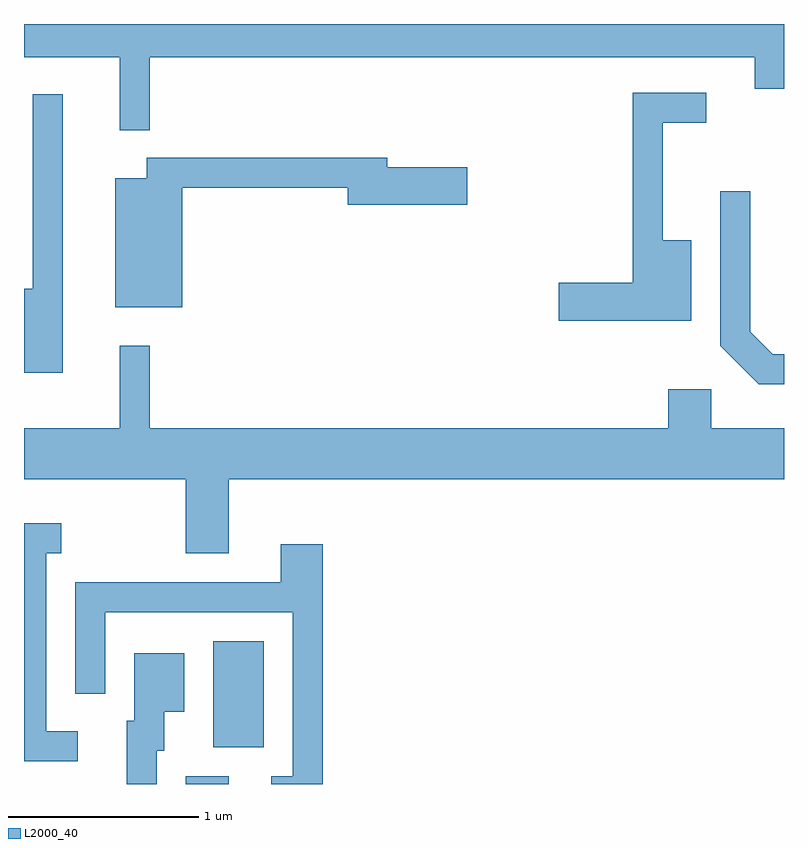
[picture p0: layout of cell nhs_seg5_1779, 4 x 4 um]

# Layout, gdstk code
import gdstk
lib = gdstk.Library(unit=1e-6, precision=1e-09)
def R(c, l, rs):  # rectangles x0, y0, x1, y1
    for r in rs: c.add(gdstk.rectangle(r[:2], r[2:], *l))
def P(c, l, *ps):  # polygons
    for p in ps: c.add(gdstk.Polygon(p, *l))
L2000_40 = (2000, 40)

nhs_seg5_1779 = lib.new_cell('nhs_seg5_1779')
R(nhs_seg5_1779, L2000_40, [(238.461,1464.072,238.689,1464.114), (238.606,1464.266,238.874,1464.824)])
P(nhs_seg5_1779, L2000_40, [(238.274,1467.896),(241.456,1467.896),(241.456,1467.731),(241.611,1467.731),(241.611,1468.072),(237.611,1468.072),(237.611,1467.896),(238.116,1467.896),(238.116,1467.513),(238.274,1467.513)],
  [(241.124,1466.934),(240.974,1466.934),(240.974,1467.551),(241.203,1467.551),(241.203,1467.709),(240.816,1467.709),(240.816,1466.709),(240.426,1466.709),(240.426,1466.511),(241.124,1466.511)],
  [(237.814,1467.703),(237.656,1467.703),(237.656,1466.679),(237.611,1466.679),(237.611,1466.236),(237.814,1466.236)],
  [(238.444,1467.211),(239.316,1467.211),(239.316,1467.121),(239.944,1467.121),(239.944,1467.319),(239.524,1467.319),(239.524,1467.369),(238.256,1467.369),(238.256,1467.259),(238.091,1467.259),(238.091,1466.581),(238.444,1466.581)],
  [(241.611,1466.334),(241.552,1466.334),(241.434,1466.452),(241.434,1467.193),(241.276,1467.193),(241.276,1466.379),(241.479,1466.176),(241.611,1466.176)],
  [(238.689,1465.676),(241.611,1465.676),(241.611,1465.944),(241.229,1465.944),(241.229,1466.149),(241.001,1466.149),(241.001,1465.944),(238.274,1465.944),(238.274,1466.378),(238.116,1466.378),(238.116,1465.944),(237.611,1465.944),(237.611,1465.676),(238.461,1465.676),(238.461,1465.286),(238.689,1465.286)],
  [(237.893,1464.349),(237.729,1464.349),(237.729,1465.286),(237.808,1465.286),(237.808,1465.444),(237.611,1465.444),(237.611,1464.191),(237.893,1464.191)],
  [(239.184,1465.334),(238.961,1465.334),(238.961,1465.134),(237.881,1465.134),(237.881,1464.548),(238.039,1464.548),(238.039,1464.976),(239.026,1464.976),(239.026,1464.114),(238.913,1464.114),(238.913,1464.072),(239.184,1464.072)],
  [(238.309,1464.246),(238.349,1464.246),(238.349,1464.451),(238.454,1464.451),(238.454,1464.759),(238.191,1464.759),(238.191,1464.404),(238.151,1464.404),(238.151,1464.072),(238.309,1464.072)])

lib.write_gds('nhs_seg5_1779.gds')
